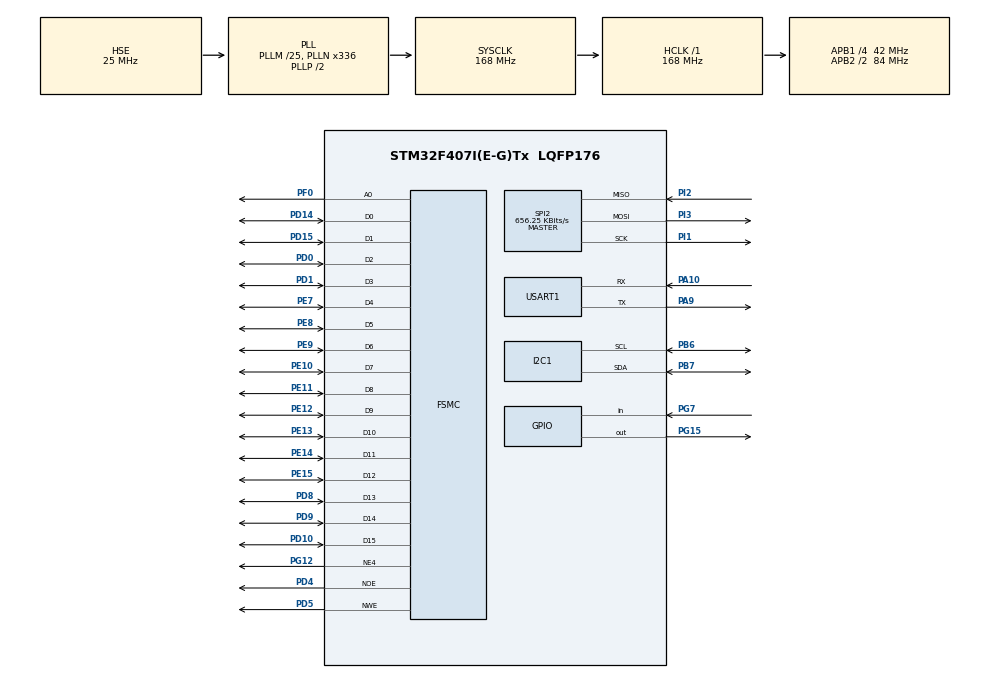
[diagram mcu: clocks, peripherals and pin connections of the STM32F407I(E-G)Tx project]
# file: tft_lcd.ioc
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FSMC.AddressSetupTime1=2
FSMC.BusTurnAroundDuration1=0
FSMC.DataSetupTime1=4
FSMC.ExtendedMode1=FSMC_EXTENDED_MODE_DISABLE
Mcu.Family=STM32F4
Mcu.Name=STM32F407I(E-G)Tx
Mcu.Package=LQFP176
NVIC.PriorityGroup=NVIC_PRIORITYGROUP_4
NVIC.USART1_IRQn=true\:0\:0\:false\:false\:true\:true\:true\:true
PA10.Mode=Asynchronous
PA10.Signal=USART1_RX
PA9.Mode=Asynchronous
PA9.Signal=USART1_TX
PB6.Mode=I2C
PB6.Signal=I2C1_SCL
PB7.Mode=I2C
PB7.Signal=I2C1_SDA
PC14-OSC32_IN.Mode=LSE-External-Oscillator
PC14-OSC32_IN.Signal=RCC_OSC32_IN
PC15-OSC32_OUT.Mode=LSE-External-Oscillator
PC15-OSC32_OUT.Signal=RCC_OSC32_OUT
PD0.Signal=FSMC_D2_DA2
PD1.Signal=FSMC_D3_DA3
PD10.Signal=FSMC_D15_DA15
PD14.Signal=FSMC_D0_DA0
PD15.Signal=FSMC_D1_DA1
PD4.Signal=FSMC_NOE
PD5.Signal=FSMC_NWE
PD8.Signal=FSMC_D13_DA13
PD9.Signal=FSMC_D14_DA14
PE10.Signal=FSMC_D7_DA7
PE11.Signal=FSMC_D8_DA8
PE12.Signal=FSMC_D9_DA9
PE13.Signal=FSMC_D10_DA10
PE14.Signal=FSMC_D11_DA11
PE15.Signal=FSMC_D12_DA12
PE7.Signal=FSMC_D4_DA4
PE8.Signal=FSMC_D5_DA5
PE9.Signal=FSMC_D6_DA6
PF0.Signal=FSMC_A0
PG12.Mode=NorPsramChipSelect4_1
PG12.Signal=FSMC_NE4
PG15.Signal=GPIO_Output
PG7.Signal=GPIO_Input
PH0-OSC_IN.Mode=HSE-External-Oscillator
PH0-OSC_IN.Signal=RCC_OSC_IN
PH1-OSC_OUT.Mode=HSE-External-Oscillator
PH1-OSC_OUT.Signal=RCC_OSC_OUT
PI1.GPIO_PuPd=GPIO_PULLDOWN
PI1.GPIO_Speed=GPIO_SPEED_FREQ_HIGH
PI1.Mode=Full_Duplex_Master
PI1.Signal=SPI2_SCK
PI2.GPIO_PuPd=GPIO_PULLDOWN
PI2.GPIO_Speed=GPIO_SPEED_FREQ_HIGH
PI2.Mode=Full_Duplex_Master
PI2.Signal=SPI2_MISO
PI3.GPIO_PuPd=GPIO_PULLDOWN
PI3.GPIO_Speed=GPIO_SPEED_FREQ_HIGH
PI3.Mode=Full_Duplex_Master
PI3.Signal=SPI2_MOSI
ProjectManager.HeapSize=0x2000
ProjectManager.StackSize=0x2000
ProjectManager.TargetToolchain=MDK-ARM V5
RCC.48MHZClocksFreq_Value=84000000
RCC.AHBFreq_Value=168000000
RCC.APB1CLKDivider=RCC_HCLK_DIV4
RCC.APB1Freq_Value=42000000
RCC.APB1TimFreq_Value=84000000
RCC.APB2CLKDivider=RCC_HCLK_DIV2
RCC.APB2Freq_Value=84000000
RCC.APB2TimFreq_Value=168000000
RCC.CortexFreq_Value=168000000
RCC.HCLKFreq_Value=168000000
RCC.HSE_VALUE=25000000
RCC.HSI_VALUE=16000000
RCC.PLLM=25
RCC.PLLN=336
RCC.PLLSourceVirtual=RCC_PLLSOURCE_HSE
RCC.SYSCLKFreq_VALUE=168000000
RCC.SYSCLKSource=RCC_SYSCLKSOURCE_PLLCLK
RCC.VCOOutputFreq_Value=336000000
RTC.Date=4
RTC.Format=RTC_FORMAT_BIN
RTC.Month=RTC_MONTH_DECEMBER
RTC.Year=23
SH.FSMC_A0.0=FSMC_A0,A0_1
SH.FSMC_D0_DA0.0=FSMC_D0,16b-d1
SH.FSMC_D10_DA10.0=FSMC_D10,16b-d1
SH.FSMC_D11_DA11.0=FSMC_D11,16b-d1
SH.FSMC_D12_DA12.0=FSMC_D12,16b-d1
SH.FSMC_D13_DA13.0=FSMC_D13,16b-d1
SH.FSMC_D14_DA14.0=FSMC_D14,16b-d1
SH.FSMC_D15_DA15.0=FSMC_D15,16b-d1
SH.FSMC_D1_DA1.0=FSMC_D1,16b-d1
SH.FSMC_D2_DA2.0=FSMC_D2,16b-d1
SH.FSMC_D3_DA3.0=FSMC_D3,16b-d1
SH.FSMC_D4_DA4.0=FSMC_D4,16b-d1
SH.FSMC_D5_DA5.0=FSMC_D5,16b-d1
SH.FSMC_D6_DA6.0=FSMC_D6,16b-d1
SH.FSMC_D7_DA7.0=FSMC_D7,16b-d1
SH.FSMC_D8_DA8.0=FSMC_D8,16b-d1
SH.FSMC_D9_DA9.0=FSMC_D9,16b-d1
SH.FSMC_NOE.0=FSMC_NOE,Lcd1
SH.FSMC_NWE.0=FSMC_NWE,Lcd1
SPI2.BaudRatePrescaler=SPI_BAUDRATEPRESCALER_64
SPI2.CalculateBaudRate=656.25 KBits/s
SPI2.Direction=SPI_DIRECTION_2LINES
SPI2.Mode=SPI_MODE_MASTER
SPI2.VirtualType=VM_MASTER
USART1.VirtualMode=VM_ASYNC
VP_RTC_VS_RTC_Activate.Mode=RTC_Enabled
VP_RTC_VS_RTC_Calendar.Mode=RTC_Calendar
board=TFTLCD

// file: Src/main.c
/* USER CODE BEGIN Header */
/**
 ******************************************************************************
 * @file           : main.c
 * @brief          : Main program body
 ******************************************************************************
 * @attention
 *
 * Copyright (c) 2023 STMicroelectronics.
 * All rights reserved.
 *
 * This software is licensed under terms that can be found in the LICENSE file
 * in the root directory of this software component.
 * If no LICENSE file comes with this software, it is provided AS-IS.
 *
 ******************************************************************************
 */
/* USER CODE END Header */
#include "main.h"
#include "i2c.h"
#include "rtc.h"
#include "spi.h"
#include "usart.h"
#include "gpio.h"
#include "fsmc.h"

/* USER CODE BEGIN Includes */

#include <stdio.h>

#include "lv_port_disp.h"
#include "lv_port_indev.h"
#include "lvgl.h"
// #include "lv_demo_benchmark.h"
#include "lcd.h"
#include "page.h"
#include "touch.h"
#include "wifi.h"
#include "radio.h"

/* USER CODE END Includes */

/* USER CODE BEGIN PV */

uint8_t rx_buffer[UART_BUFFER_SIZE];
uint16_t rx_head = 0;
uint16_t rx_tail = 0;

/* USER CODE END PV */

void SystemClock_Config(void);

int main(void)
{

  /* MCU Configuration--------------------------------------------------------*/

  /* Reset of all peripherals, Initializes the Flash interface and the Systick. */
  HAL_Init();

  /* Configure the system clock */
  SystemClock_Config();

  /* Initialize all configured peripherals */
  MX_GPIO_Init();
  MX_FSMC_Init();
  MX_SPI2_Init();
  MX_USART1_UART_Init();
  MX_RTC_Init();
  MX_I2C1_Init();
  /* USER CODE BEGIN 2 */

  HAL_UART_Receive_IT(&huart1, (uint8_t *)rx_buffer, 1);

  HAL_Delay(100);

  lv_init();
  lv_port_disp_init();
  lv_port_indev_init();

  // HAL_TIM_Base_Start_IT(&htim2); //LED
  // HAL_TIM_Base_Start_IT(&htim3); //LVGL
  // lv_demo_benchmark();

  // lv_obj_t* obj_input = lv_textarea_create(lv_scr_act());
  // lv_obj_set_size(obj_input, LV_PCT(60), LV_PCT(20));
  // lv_obj_align(obj_input, LV_ALIGN_CENTER, 0, 0);

  // lv_obj_t *obj_title = lv_label_create(lv_scr_act());
  // lv_label_set_text(obj_title, "Hello World!");
  // lv_obj_align(obj_title, LV_ALIGN_TOP_LEFT, 0, 0);

  // set_wifi();

  // get_weather();
  // update_time();
  radio_write();
  lv_lc_widgets();

  /* USER CODE END 2 */

  /* Infinite loop */
  while (1) {

    /* USER CODE BEGIN 3 */

    Convert_Pos();

    // lv_label_set_text_fmt(obj_title, "Hello World! %d,%d,%d", Pen_Point.X0,
    // Pen_Point.Y0,!HAL_GPIO_ReadPin(GPIOG, GPIO_PIN_7));

    lv_task_handler();
    HAL_Delay(5);
  }
  /* USER CODE END 3 */
}

void SystemClock_Config(void)
{
  RCC_OscInitTypeDef RCC_OscInitStruct = {0};
  RCC_ClkInitTypeDef RCC_ClkInitStruct = {0};

  /** Configure the main internal regulator output voltage
  */
  __HAL_RCC_PWR_CLK_ENABLE();
  __HAL_PWR_VOLTAGESCALING_CONFIG(PWR_REGULATOR_VOLTAGE_SCALE1);

  /** Initializes the RCC Oscillators according to the specified parameters
  * in the RCC_OscInitTypeDef structure.
  */
  RCC_OscInitStruct.OscillatorType = RCC_OSCILLATORTYPE_LSI|RCC_OSCILLATORTYPE_HSE;
  RCC_OscInitStruct.HSEState = RCC_HSE_ON;
  RCC_OscInitStruct.LSIState = RCC_LSI_ON;
  RCC_OscInitStruct.PLL.PLLState = RCC_PLL_ON;
  RCC_OscInitStruct.PLL.PLLSource = RCC_PLLSOURCE_HSE;
  RCC_OscInitStruct.PLL.PLLM = 25;
  RCC_OscInitStruct.PLL.PLLN = 336;
  RCC_OscInitStruct.PLL.PLLP = RCC_PLLP_DIV2;
  RCC_OscInitStruct.PLL.PLLQ = 4;
  if (HAL_RCC_OscConfig(&RCC_OscInitStruct) != HAL_OK)
  {
    Error_Handler();
  }

  /** Initializes the CPU, AHB and APB buses clocks
  */
  RCC_ClkInitStruct.ClockType = RCC_CLOCKTYPE_HCLK|RCC_CLOCKTYPE_SYSCLK
                              |RCC_CLOCKTYPE_PCLK1|RCC_CLOCKTYPE_PCLK2;
  RCC_ClkInitStruct.SYSCLKSource = RCC_SYSCLKSOURCE_PLLCLK;
  RCC_ClkInitStruct.AHBCLKDivider = RCC_SYSCLK_DIV1;
  RCC_ClkInitStruct.APB1CLKDivider = RCC_HCLK_DIV4;
  RCC_ClkInitStruct.APB2CLKDivider = RCC_HCLK_DIV2;

  if (HAL_RCC_ClockConfig(&RCC_ClkInitStruct, FLASH_LATENCY_5) != HAL_OK)
  {
    Error_Handler();
  }
}

/* USER CODE BEGIN 4 */

/**
 * @brief 重定向c库函数printf到USARTx
 * @retval 0
 */
int fputc(int ch, FILE *f) {
  HAL_UART_Transmit(&huart1, (uint8_t *)&ch, 1, 0xffff);
  return 0;
}

/**
 * @brief 重定向c库函数getchar,scanf到USARTx
 * @retval ch
 */
int fgetc(FILE *f) {
  while (rx_head == rx_tail) {
    HAL_Delay(1);
  }
  int ch = rx_buffer[rx_tail];
  rx_tail = rx_tail + 1;
  if (rx_tail >= UART_BUFFER_SIZE) {
    rx_tail = 0;
  }
  return ch;
}

void rx_buffer_flush() {
  rx_tail = rx_head;
}

/* USER CODE END 4 */

void Error_Handler(void)
{
  __disable_irq();
  while (1) {
  }
}

#ifdef  USE_FULL_ASSERT
/**
  * @brief  Reports the name of the source file and the source line number
  *         where the assert_param error has occurred.
  * @param  file: pointer to the source file name
  * @param  line: assert_param error line source number
  * @retval None
  */
void assert_failed(uint8_t *file, uint32_t line)
{
  /* USER CODE BEGIN 6 */
  /* User can add his own implementation to report the file name and line
     number, ex: printf("Wrong parameters value: file %s on line %d\r\n", file,
     line) */
  /* USER CODE END 6 */
}
#endif /* USE_FULL_ASSERT */
